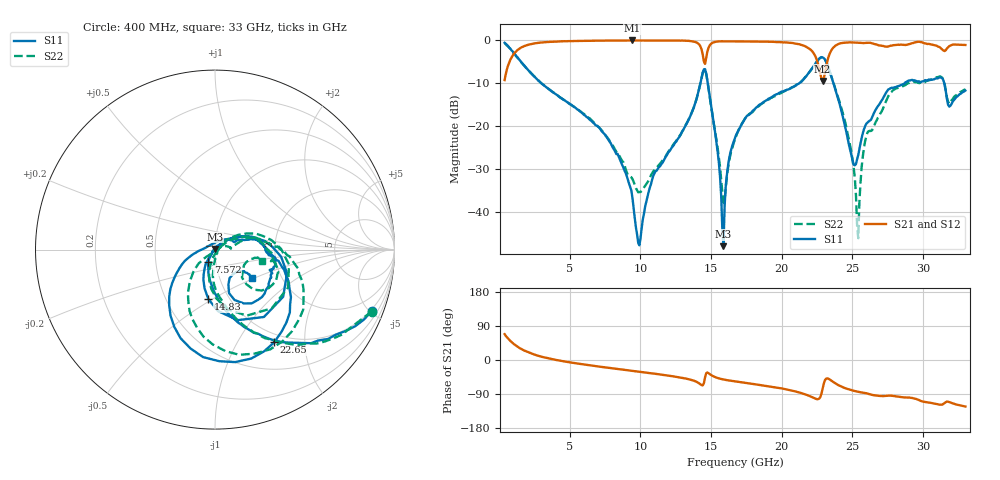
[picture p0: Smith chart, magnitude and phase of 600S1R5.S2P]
!  American Technical Ceramics  Date:  4/26/2005
!  One Norden Lane
!  Huntington Station,  NY.  11746-2102
!  Tel:  (631) 622-4700  Fax:  (631) 622-4748
!  Part Number  600S1R5  Mounting Orientation: Horizontal
!  Description: Ultra Low ESR Microwave capacitors
!  Application: Coupling, Bypass, Tuning, DC Block
!  Filters, Matching
# GHZ S DB R 50
! Freq  |S11|  S11 Ph  |S21|  S21 Ph  |S12|  S12 Ph  |S22|  S22 Ph
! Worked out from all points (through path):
!   401 points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, 400 MHz to 33 GHz, reference 50 ohm
!   highest |S21| = 0.00 dB at 9.447 GHz (marker M1); lowest = -9.5 dB at 22.89 GHz (marker M2)
!   group delay of S21, straight-line fit = 11.9 ps
!   lowest |S11| = -47.9 dB at 15.88 GHz (marker M3), VSWR 1.01, Z = 50.1 + j0.398 ohm
!   |S11| at or under -10 dB: 3.004 GHz to 14.25 GHz (11.24 GHz wide, 130 % of centre); 14.78 GHz to 21.23 GHz (6.456 GHz wide, 35.9 % of centre); 23.67 GHz to 28.7 GHz (5.026 GHz wide, 19.2 % of centre)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
!   |S22| runs from -46.1 to -0.5 dB; largest |S21 - S12| = 0.014
!   S11 on the Smith chart (normalised r, x): 400 MHz: 0.89, -5.17; 7.572 GHz: 0.92, -0.13; 14.83 GHz: 0.80, -0.48; 22.65 GHz: 0.87, -1.44; 33 GHz: 1.43, -0.48
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0.4  -0.54 -21.3  -9.22 68.2  -9.19 68.1  -0.55 -21.6
2.193  -7.34 -72.1  -0.90 18.5  -0.91 18.0  -7.36 -70.9
5.861  -16.84 -104.4  -0.10 -11.0  -0.09 -11.0  -16.76 -94.8
7.572  -22.19 -118.2  -0.03 -19.8  -0.04 -19.9  -22.32 -93.3
9.447  -36.70 -148.9  0.00 -28.8  -0.02 -28.8  -32.28 -61.7
9.936  -47.72 131.3  -0.01 -31.0  -0.01 -31.0  -35.29 -26.4
11.321  -29.52 48.0  -0.01 -37.7  -0.01 -37.6  -29.00 30.4
14.337  -8.63 -6.1  -2.12 -66.4  -2.11 -66.1  -8.70 0.9
14.826  -11.10 -97.5  -1.70 -34.7  -1.72 -35.2  -11.26 -88.2
15.885  -47.91 80.9  -0.20 -51.5  -0.19 -51.5  -37.80 -44.0
16.7  -22.72 39.2  -0.22 -56.6  -0.19 -56.7  -23.02 32.3
22.161  -6.51 -28.3  -2.52 -97.8  -2.52 -97.8  -6.45 -13.0
22.65  -4.25 -57.5  -6.51 -102.0  -6.47 -101.4  -4.33 -39.1
22.894  -3.92 -79.9  -9.45 -76.5  -9.34 -76.4  -3.94 -61.0
23.465  -7.87 -129.1  -2.63 -53.2  -2.65 -53.3  -7.83 -108.2
24.524  -20.48 -174.6  -0.49 -74.9  -0.53 -74.7  -19.41 -139.8
25.095  -28.94 130.2  -0.46 -81.2  -0.49 -80.9  -29.52 -134.3
25.421  -26.66 71.8  -0.53 -84.1  -0.56 -83.5  -46.06 -17.0
25.991  -19.39 28.5  -0.56 -87.8  -0.58 -87.7  -22.33 12.2
27.621  -11.31 4.8  -1.30 -94.2  -1.35 -94.0  -12.54 14.9
31.452  -9.36 -61.8  -2.36 -115.5  -2.38 -115.7  -9.22 -41.2
33  -11.67 -37.3  -1.05 -122.8  -1.08 -122.5  -11.43 -13.6
